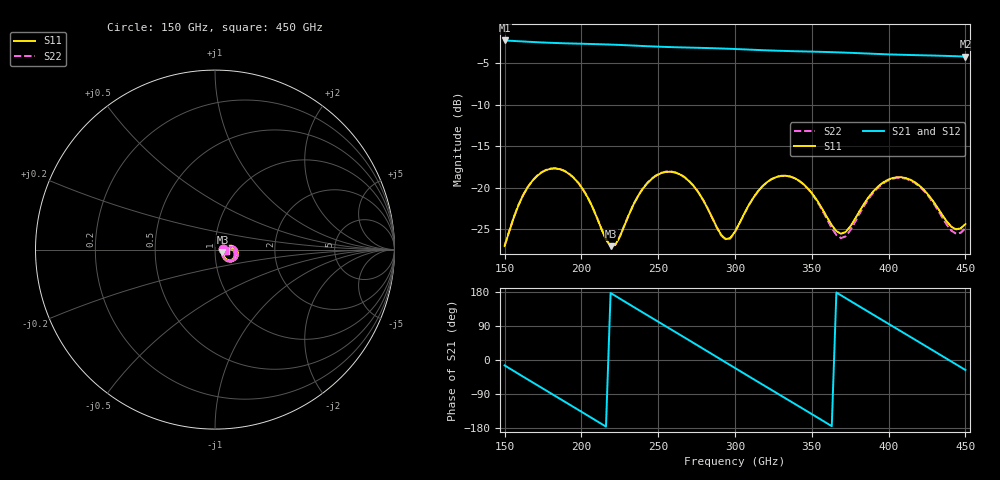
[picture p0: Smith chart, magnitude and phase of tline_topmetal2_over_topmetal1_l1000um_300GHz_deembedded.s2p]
! Created with skrf 2.2.0 (http://scikit-rf.org).
# GHz S DB R 50.0
! Port[1] = P1
! Port[2] = P2
!freq dBS11 angS11 dBS21 angS21 dBS12 angS12 dBS22 angS22
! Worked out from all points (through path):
!   101 points, 150 GHz to 450 GHz, reference 50 ohm
!   highest |S21| = -2.28 dB at 150 GHz (marker M1); lowest = -4.2 dB at 450 GHz (marker M2)
!   group delay of S21, straight-line fit = 6.78 ps
!   lowest |S11| = -27.0 dB at 219 GHz (marker M3), VSWR 1.09, Z = 54.3 - j1.74 ohm
!   |S11| at or under -10 dB: start of sweep to end of sweep
!   |S22| runs from -27.0 to -17.6 dB; largest |S21 - S12| = 1.3e-12
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150  -27.00 4.3  -2.28 -14.3  -2.28 -14.3  -26.95 3.8
162  -20.90 14.4  -2.41 -43.8  -2.41 -43.8  -20.87 13.8
177  -17.86 -6.2  -2.54 -80.4  -2.54 -80.4  -17.83 -6.9
189  -17.98 -25.6  -2.62 -109.6  -2.62 -109.6  -17.95 -26.3
201  -20.19 -41.6  -2.68 -139.0  -2.68 -139.0  -20.16 -42.3
219  -27.01 -21.1  -2.78 176.8  -2.78 176.8  -26.95 -21.7
237  -20.96 10.6  -2.92 132.6  -2.92 132.6  -20.91 9.6
252  -18.22 -8.2  -3.04 96.1  -3.04 96.1  -18.19 -9.3
264  -18.37 -26.3  -3.11 66.9  -3.11 66.9  -18.34 -27.6
279  -21.38 -42.5  -3.18 30.3  -3.18 30.3  -21.38 -44.1
291  -25.66 -30.6  -3.25 0.9  -3.25 0.9  -25.72 -32.2
300  -25.26 -1.9  -3.31 -21.2  -3.31 -21.2  -25.32 -3.0
315  -20.41 3.3  -3.43 -57.8  -3.43 -57.8  -20.41 1.9
327  -18.69 -10.9  -3.51 -86.9  -3.51 -86.9  -18.68 -12.5
351  -20.87 -39.6  -3.63 -145.2  -3.63 -145.2  -20.94 -42.4
366  -25.21 -28.4  -3.71 178.1  -3.71 178.1  -25.66 -31.1
375  -24.66 -4.8  -3.77 156.1  -3.77 156.1  -25.12 -5.0
390  -20.43 -0.5  -3.88 119.6  -3.88 119.6  -20.58 -0.5
402  -18.85 -13.5  -3.97 90.5  -3.97 90.5  -18.93 -14.1
414  -19.01 -28.8  -4.03 61.4  -4.03 61.4  -19.08 -29.9
429  -21.61 -41.1  -4.10 24.9  -4.10 24.9  -21.78 -43.1
450  -24.36 -9.7  -4.22 -26.3  -4.22 -26.3  -24.84 -9.1
